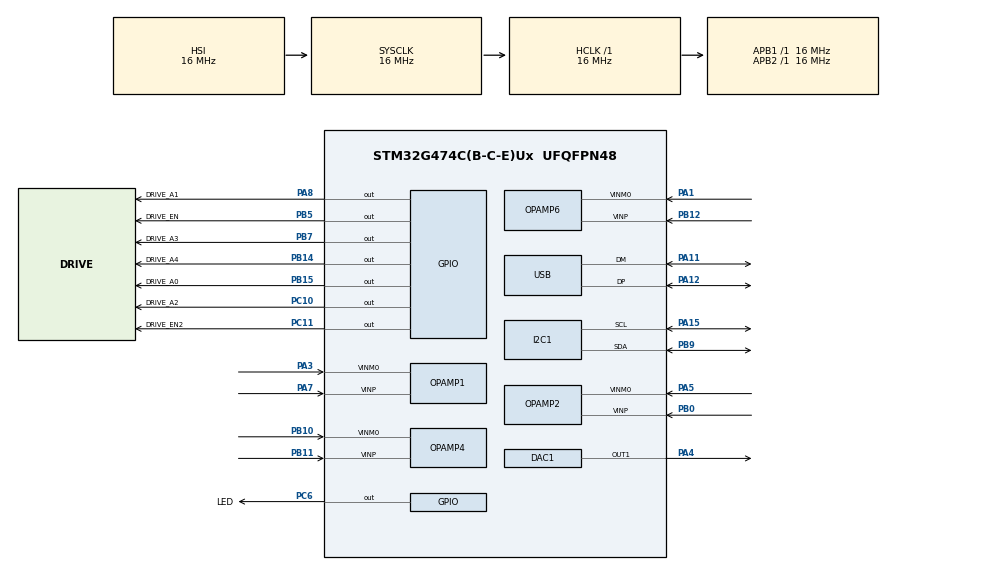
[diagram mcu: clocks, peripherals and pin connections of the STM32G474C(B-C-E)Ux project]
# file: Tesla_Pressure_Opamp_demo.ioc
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ADC1.Channel-0\#ChannelRegularConversion=ADC_CHANNEL_VOPAMP1
ADC1.NbrOfConversionFlag=1
ADC1.OffsetNumber-0\#ChannelRegularConversion=ADC_OFFSET_NONE
ADC1.OversamplingMode=ENABLE
ADC1.Rank-0\#ChannelRegularConversion=1
ADC1.Ratio=ADC_OVERSAMPLING_RATIO_16
ADC1.RightBitShift=ADC_RIGHTBITSHIFT_2
ADC1.SamplingTime-0\#ChannelRegularConversion=ADC_SAMPLETIME_47CYCLES_5
ADC1.master=1
ADC2.Channel-0\#ChannelRegularConversion=ADC_CHANNEL_VOPAMP2
ADC2.NbrOfConversionFlag=1
ADC2.OffsetNumber-0\#ChannelRegularConversion=ADC_OFFSET_NONE
ADC2.OversamplingMode=ENABLE
ADC2.Rank-0\#ChannelRegularConversion=1
ADC2.Ratio=ADC_OVERSAMPLING_RATIO_16
ADC2.RightBitShift=ADC_RIGHTBITSHIFT_2
ADC2.SamplingTime-0\#ChannelRegularConversion=ADC_SAMPLETIME_47CYCLES_5
ADC4.Channel-0\#ChannelRegularConversion=ADC_CHANNEL_VOPAMP6
ADC4.NbrOfConversionFlag=1
ADC4.OffsetNumber-0\#ChannelRegularConversion=ADC_OFFSET_NONE
ADC4.OversamplingMode=ENABLE
ADC4.Rank-0\#ChannelRegularConversion=1
ADC4.Ratio=ADC_OVERSAMPLING_RATIO_16
ADC4.RightBitShift=ADC_RIGHTBITSHIFT_2
ADC4.SamplingTime-0\#ChannelRegularConversion=ADC_SAMPLETIME_47CYCLES_5
ADC5.Channel-0\#ChannelRegularConversion=ADC_CHANNEL_VOPAMP4
ADC5.NbrOfConversionFlag=1
ADC5.OffsetNumber-0\#ChannelRegularConversion=ADC_OFFSET_NONE
ADC5.OversamplingMode=ENABLE
ADC5.Rank-0\#ChannelRegularConversion=1
ADC5.Ratio=ADC_OVERSAMPLING_RATIO_16
ADC5.RightBitShift=ADC_RIGHTBITSHIFT_2
ADC5.SamplingTime-0\#ChannelRegularConversion=ADC_SAMPLETIME_47CYCLES_5
I2C1.Timing=0x00503D58
Mcu.Family=STM32G4
Mcu.Name=STM32G474C(B-C-E)Ux
Mcu.Package=UFQFPN48
NVIC.PriorityGroup=NVIC_PRIORITYGROUP_4
NVIC.TIM6_DAC_IRQn=true\:1\:0\:true\:false\:true\:true\:true\:true
NVIC.USB_LP_IRQn=true\:0\:0\:false\:false\:true\:false\:true\:true
PA1.Mode=PGA Internally connected_IO0_BIAS
PA1.Signal=OPAMP6_VINM0
PA11.Mode=Device
PA11.Signal=USB_DM
PA12.Mode=Device
PA12.Signal=USB_DP
PA13.Mode=Serial_Wire
PA13.Signal=SYS_JTMS-SWDIO
PA14.Mode=Serial_Wire
PA14.Signal=SYS_JTCK-SWCLK
PA15.Mode=I2C
PA15.Signal=I2C1_SCL
PA3.Mode=PGA Internally connected_IO0_BIAS
PA3.Signal=OPAMP1_VINM0
PA4.Signal=COMP_DAC11_group
PA5.Mode=PGA Internally connected_IO0_BIAS
PA5.Signal=OPAMP2_VINM0
PA7.Mode=PGA Internally connected_IO0_BIAS
PA7.Signal=OPAMP1_VINP
PA8.GPIO_Label=DRIVE_A1
PA8.Signal=GPIO_Output
PB0.Mode=PGA Internally connected_IO0_BIAS
PB0.Signal=OPAMP2_VINP
PB10.Mode=PGA Internally connected_IO0_BIAS
PB10.Signal=OPAMP4_VINM0
PB11.Mode=PGA Internally connected_IO0_BIAS
PB11.Signal=OPAMP4_VINP
PB12.Mode=PGA Internally connected_IO0_BIAS
PB12.Signal=OPAMP6_VINP
PB14.GPIO_Label=DRIVE_A4
PB14.Signal=GPIO_Output
PB15.GPIO_Label=DRIVE_A0
PB15.Signal=GPIO_Output
PB5.GPIO_Label=DRIVE_EN
PB5.Signal=GPIO_Output
PB7.GPIO_Label=DRIVE_A3
PB7.Signal=GPIO_Output
PB9.Mode=I2C
PB9.Signal=I2C1_SDA
PC10.GPIO_Label=DRIVE_A2
PC10.Signal=GPIO_Output
PC11.GPIO_Label=DRIVE_EN2
PC11.Signal=GPIO_Output
PC6.GPIO_Label=LED
PC6.Signal=GPIO_Output
ProjectManager.HeapSize=0x200
ProjectManager.StackSize=0x400
ProjectManager.TargetToolchain=CMake
RCC.AHBFreq_Value=16000000
RCC.APB1Freq_Value=16000000
RCC.APB1TimFreq_Value=16000000
RCC.APB2Freq_Value=16000000
RCC.APB2TimFreq_Value=16000000
RCC.CK48CLockSelection=RCC_USBCLKSOURCE_HSI48
RCC.CortexFreq_Value=16000000
RCC.EXTERNAL_CLOCK_VALUE=12288000
RCC.HCLKFreq_Value=16000000
RCC.HSE_VALUE=8000000
RCC.HSI48_VALUE=48000000
RCC.HSI_VALUE=16000000
RCC.LSE_VALUE=32768
RCC.PLLN=12
RCC.PLLQ=RCC_PLLQ_DIV4
RCC.SYSCLKFreq_VALUE=16000000
RCC.USBFreq_Value=48000000
RCC.VCOOutputFreq_Value=192000000
SH.COMP_DAC11_group.0=DAC1_OUT1,DAC_OUT1
TIM6.PeriodNoDither=300-1
TIM6.Prescaler=16-1
USB_DEVICE.CLASS_NAME_FS=CDC
USB_DEVICE.VirtualMode=Cdc
USB_DEVICE.VirtualModeFS=Cdc_FS
VP_ADC1_OPAMP_INTERNAL1.Mode=IN-OPAMP1
VP_ADC2_OPAMP_INTERNAL2.Mode=IN-OPAMP2
VP_ADC4_OPAMP_INTERNAL6.Mode=IN-OPAMP6
VP_ADC5_OPAMP_INTERNAL4.Mode=IN-OPAMP4
VP_RCC_VS_USB.Mode=USB_FS
VP_SYS_VS_DBSignals.Mode=DisableDeadBatterySignals
VP_TIM6_VS_ClockSourceINT.Mode=Enable_Timer
VP_USB_DEVICE_VS_USB_DEVICE_CDC_FS.Mode=CDC_FS
board=custom

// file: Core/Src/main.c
/* USER CODE BEGIN Header */
/**
  ******************************************************************************
  * @file           : main.c
  * @brief          : Main program body
  ******************************************************************************
  * @attention
  *
  * Copyright (c) 2026 STMicroelectronics.
  * All rights reserved.
  *
  * This software is licensed under terms that can be found in the LICENSE file
  * in the root directory of this software component.
  * If no LICENSE file comes with this software, it is provided AS-IS.
  *
  ******************************************************************************
  */
/* USER CODE END Header */
#include "main.h"
#include "adc.h"
#include "dac.h"
#include "i2c.h"
#include "opamp.h"
#include "tim.h"
#include "usb_device.h"
#include "gpio.h"

/* USER CODE BEGIN Includes */
#include <stdbool.h>

#include "mux.h"
#include "sense.h"
#include "scan.h"
#include "mapping.h"
#include "usb_out.h"
/* USER CODE END Includes */

/* USER CODE BEGIN PV */
static scan_frame_t frame;
static uint16_t sensor_values[TAXEL_COUNT];
/* USER CODE END PV */

void SystemClock_Config(void);

int main(void)
{

  /* MCU Configuration--------------------------------------------------------*/

  /* Reset of all peripherals, Initializes the Flash interface and the Systick. */
  HAL_Init();

  /* Configure the system clock */
  SystemClock_Config();

  /* Initialize all configured peripherals */
  MX_GPIO_Init();
  MX_ADC1_Init();
  MX_ADC2_Init();
  MX_ADC4_Init();
  MX_ADC5_Init();
  MX_DAC1_Init();
  MX_I2C1_Init();
  MX_OPAMP1_Init();
  MX_OPAMP2_Init();
  MX_OPAMP4_Init();
  MX_OPAMP6_Init();
  MX_USB_Device_Init();
  MX_TIM6_Init();
  /* USER CODE BEGIN 2 */
  sense_init();      /* DAC, op-amps, ADCs running */
  scan_start();      /* only now: rows get driven */

  uint32_t led_last = HAL_GetTick();
  /* USER CODE END 2 */

  /* Infinite loop */
  while (1)
  {

    /* USER CODE BEGIN 3 */
    if (scan_frame_ready())                   /* a new frame every 1/120 s */
    {
      scan_take(&frame);
      mapping_frame_to_taxels(&frame, sensor_values);
      output_sensor_data(sensor_values);
    }

    if (HAL_GetTick() - led_last >= 500U)
    {
      led_last += 500U;
      HAL_GPIO_TogglePin(LED_GPIO_Port, LED_Pin);
    }
  }
  /* USER CODE END 3 */
}

void SystemClock_Config(void)
{
  RCC_OscInitTypeDef RCC_OscInitStruct = {0};
  RCC_ClkInitTypeDef RCC_ClkInitStruct = {0};
  RCC_CRSInitTypeDef pInit = {0};

  /** Configure the main internal regulator output voltage
  */
  HAL_PWREx_ControlVoltageScaling(PWR_REGULATOR_VOLTAGE_SCALE1);

  /** Initializes the RCC Oscillators according to the specified parameters
  * in the RCC_OscInitTypeDef structure.
  */
  RCC_OscInitStruct.OscillatorType = RCC_OSCILLATORTYPE_HSI|RCC_OSCILLATORTYPE_HSI48;
  RCC_OscInitStruct.HSIState = RCC_HSI_ON;
  RCC_OscInitStruct.HSICalibrationValue = RCC_HSICALIBRATION_DEFAULT;
  RCC_OscInitStruct.HSI48State = RCC_HSI48_ON;
  RCC_OscInitStruct.PLL.PLLState = RCC_PLL_NONE;
  if (HAL_RCC_OscConfig(&RCC_OscInitStruct) != HAL_OK)
  {
    Error_Handler();
  }

  /** Initializes the CPU, AHB and APB buses clocks
  */
  RCC_ClkInitStruct.ClockType = RCC_CLOCKTYPE_HCLK|RCC_CLOCKTYPE_SYSCLK
                              |RCC_CLOCKTYPE_PCLK1|RCC_CLOCKTYPE_PCLK2;
  RCC_ClkInitStruct.SYSCLKSource = RCC_SYSCLKSOURCE_HSI;
  RCC_ClkInitStruct.AHBCLKDivider = RCC_SYSCLK_DIV1;
  RCC_ClkInitStruct.APB1CLKDivider = RCC_HCLK_DIV1;
  RCC_ClkInitStruct.APB2CLKDivider = RCC_HCLK_DIV1;

  if (HAL_RCC_ClockConfig(&RCC_ClkInitStruct, FLASH_LATENCY_0) != HAL_OK)
  {
    Error_Handler();
  }

  /** Enable the SYSCFG APB clock
  */
  __HAL_RCC_CRS_CLK_ENABLE();

  /** Configures CRS
  */
  pInit.Prescaler = RCC_CRS_SYNC_DIV1;
  pInit.Source = RCC_CRS_SYNC_SOURCE_USB;
  pInit.Polarity = RCC_CRS_SYNC_POLARITY_RISING;
  pInit.ReloadValue = __HAL_RCC_CRS_RELOADVALUE_CALCULATE(48000000,1000);
  pInit.ErrorLimitValue = 34;
  pInit.HSI48CalibrationValue = 32;

  HAL_RCCEx_CRSConfig(&pInit);
}

void Error_Handler(void)
{
  __disable_irq();
  while (1)
  {
  }
}
